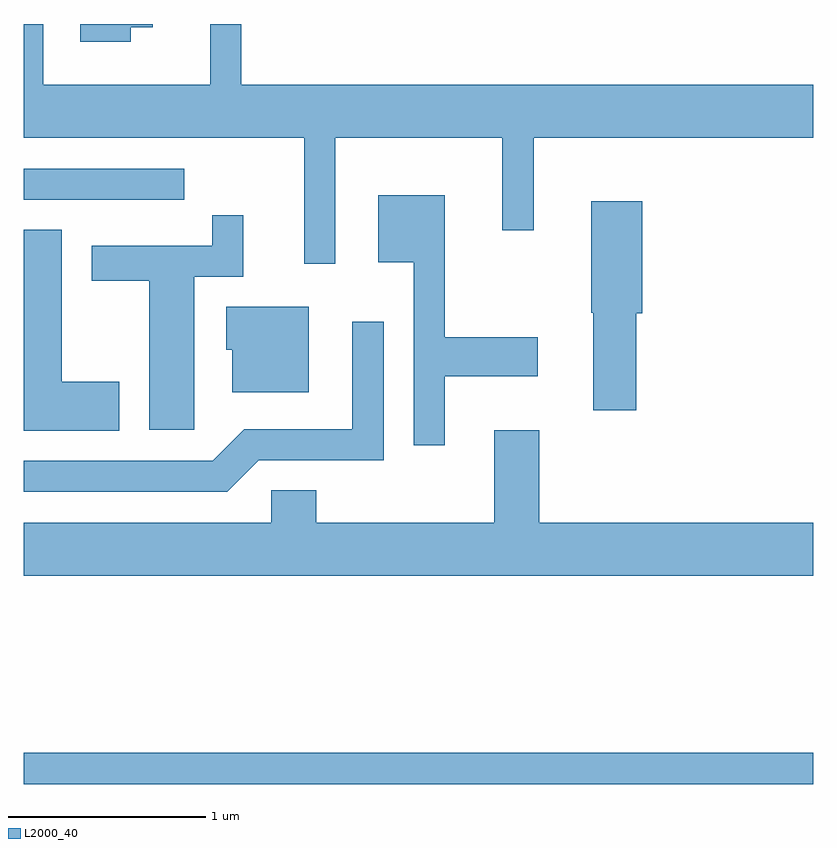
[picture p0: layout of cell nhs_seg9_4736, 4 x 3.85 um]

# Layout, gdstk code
import gdstk
lib = gdstk.Library(unit=1e-6, precision=1e-09)
def R(c, l, rs):  # rectangles x0, y0, x1, y1
    for r in rs: c.add(gdstk.rectangle(r[:2], r[2:], *l))
def P(c, l, *ps):  # polygons
    for p in ps: c.add(gdstk.Polygon(p, *l))
L2000_40 = (2000, 40)

nhs_seg9_4736 = lib.new_cell('nhs_seg9_4736')
R(nhs_seg9_4736, L2000_40, [(325.611,1948.581,329.611,1948.739), (325.611,1951.541,326.423,1951.699)])
P(nhs_seg9_4736, L2000_40, [(327.189,1951.856),(328.036,1951.856),(328.036,1951.388),(328.194,1951.388),(328.194,1951.856),(329.611,1951.856),(329.611,1952.124),(326.714,1952.124),(326.714,1952.432),(326.556,1952.432),(326.556,1952.124),(325.709,1952.124),(325.709,1952.432),(325.611,1952.432),(325.611,1951.856),(327.031,1951.856),(327.031,1951.218),(327.189,1951.218)],
  [(326.154,1952.416),(326.264,1952.416),(326.264,1952.432),(325.896,1952.432),(325.896,1952.341),(326.154,1952.341)],
  [(327.744,1950.646),(328.214,1950.646),(328.214,1950.844),(327.744,1950.844),(327.744,1951.564),(327.406,1951.564),(327.406,1951.226),(327.586,1951.226),(327.586,1950.298),(327.744,1950.298)],
  [(328.714,1950.966),(328.744,1950.966),(328.744,1951.534),(328.486,1951.534),(328.486,1950.97),(328.496,1950.97),(328.496,1950.476),(328.714,1950.476)],
  [(326.474,1951.151),(326.724,1951.151),(326.724,1951.463),(326.566,1951.463),(326.566,1951.309),(325.956,1951.309),(325.956,1951.131),(326.246,1951.131),(326.246,1950.376),(326.474,1950.376)],
  [(326.094,1950.619),(325.804,1950.619),(325.804,1951.389),(325.611,1951.389),(325.611,1950.371),(326.094,1950.371)],
  [(327.054,1950.999),(326.636,1950.999),(326.636,1950.781),(326.666,1950.781),(326.666,1950.566),(327.054,1950.566)],
  [(326.802,1950.221),(327.434,1950.221),(327.434,1950.923),(327.276,1950.923),(327.276,1950.379),(326.729,1950.379),(326.569,1950.219),(325.611,1950.219),(325.611,1950.061),(326.642,1950.061)],
  [(329.611,1949.904),(328.224,1949.904),(328.224,1950.374),(327.996,1950.374),(327.996,1949.904),(327.094,1949.904),(327.094,1950.069),(326.866,1950.069),(326.866,1949.904),(325.611,1949.904),(325.611,1949.636),(329.611,1949.636)])

lib.write_gds('nhs_seg9_4736.gds')
